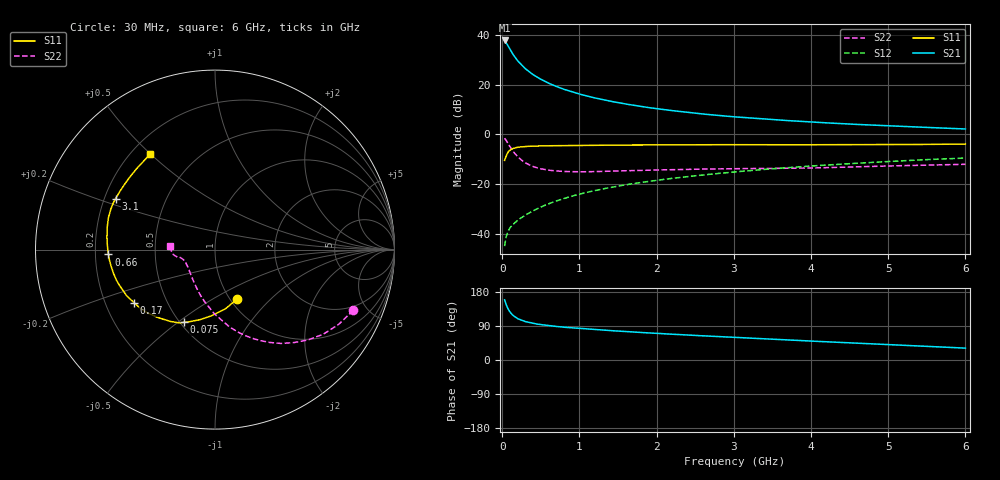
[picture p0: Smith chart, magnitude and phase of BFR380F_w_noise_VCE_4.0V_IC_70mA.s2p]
! Infineon Technologies  Discrete & RF Semiconductors
! BFR380F
! VCE =  4.0 V,  IC =  70 mA
! Common Emitter S-Parameters:  Nov 2015
# GHz  S  MA  R  50
!  f  S11  S21  S12  S22
! GHz  MAG  ANG  MAG  ANG  MAG  ANG  MAG  ANG
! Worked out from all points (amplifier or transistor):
!   206 points, 30 MHz to 6 GHz, reference 50 ohm
!   highest |S21| = 37.8 dB at 30 MHz (marker M1)
!   |S21| within 3 dB of that: start of sweep to 88.42 MHz
!   unconditionally stable (mu >= 1): 717.4 MHz to 4.721 GHz
!   at 200 MHz: K = 0.69, MSG = 32.0 dB, |S12| = -34.5 dB
!   at 1.56 GHz: K = 1.04, MAG = 15.2 dB, |S12| = -20.4 dB
!   at 6 GHz: K = 0.98, MSG = 5.8 dB, |S12| = -9.5 dB
!   lowest NFmin = 1.81 dB at 900 MHz
!   S11 on the Smith chart (normalised r, x): 30 MHz: 1.08, -0.65; 75 MHz: 0.52, -0.53; 170 MHz: 0.32, -0.27; 660 MHz: 0.25, -0.02; 3.1 GHz: 0.25, +0.23; 6 GHz: 0.27, +0.50
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0.03  0.3017 -65.8  77.5 158.7  0.0057 76.2  0.8413 -23.7
0.04  0.3356 -80.2  73.96 152.4  0.0072 72.5  0.8054 -31.1
0.05  0.3691 -93.1  70.18 146.3  0.0088 68.1  0.7657 -38.0
0.07  0.4293 -110.2  61.8 136.8  0.0108 63.8  0.6794 -49.7
0.075  0.4415 -113.3  59.87 135.1  0.0113 62.9  0.6589 -52.2
0.09  0.4703 -121.6  54.3 129.7  0.0126 60.5  0.602 -59.3
0.1  0.4833 -126.6  51 126.6  0.0133 59.7  0.5676 -63.4
0.12  0.5057 -134.1  45.2 121.6  0.0146 58.2  0.5078 -70.6
0.15  0.5308 -142.7  38.3 115.7  0.0162 58.3  0.4372 -79.5
0.17  0.5387 -146.6  34.97 113.4  0.0173 58.6  0.4031 -83.5
0.2  0.555 -152.2  30.11 109.0  0.0189 59.1  0.3564 -90.8
0.24  0.5635 -157.1  25.81 105.6  0.0209 60.7  0.314 -97.7
0.3  0.575 -162.7  20.91 101.3  0.024 62.8  0.2689 -107.2
0.36  0.5805 -166.6  17.64 98.4  0.0271 64.7  0.2409 -114.5
0.45  0.5862 -170.9  14.21 94.8  0.032 67.1  0.2142 -123.7
0.66  0.5946 -177.4  9.826 89.5  0.0439 70.5  0.1874 -138.7
1.04  0.6033 175.2  6.255 82.7  0.0656 72.8  0.1782 -153.6
2.02  0.62 163.0  3.272 70.1  0.1212 71.8  0.1937 -165.6
3.1  0.6224 152.8  2.21 58.8  0.1818 68.2  0.2059 -168.5
4.1  0.6216 143.2  1.746 49.0  0.2379 63.6  0.2137 -168.8
5.1  0.6277 134.0  1.472 39.7  0.2914 58.5  0.2349 -173.9
6  0.6431 124.4  1.29 31.3  0.3363 53.0  0.2518 175.8
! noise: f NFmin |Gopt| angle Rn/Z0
0.45  1.82  0.48  -174  0.08
0.9  1.81  0.5  -171  0.08
1.8  2.07  0.53  -159  0.11
1.9  2.18  0.54  -159  0.11
2.4  2.25  0.55  -150  0.15
3.5  2.95  0.58  -140  0.28
